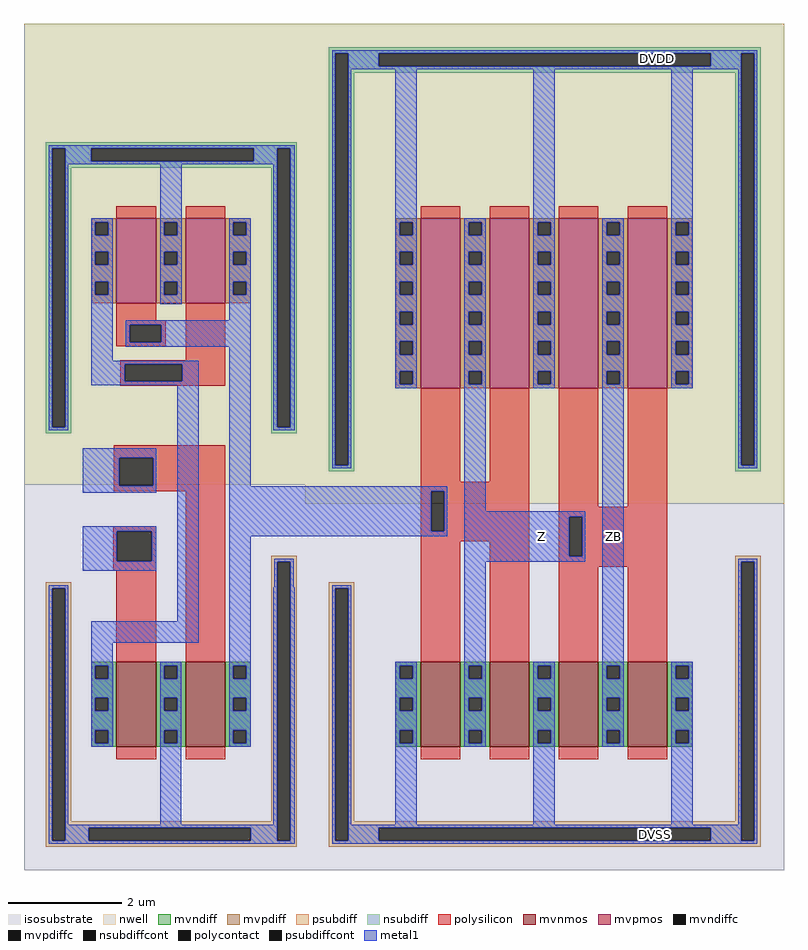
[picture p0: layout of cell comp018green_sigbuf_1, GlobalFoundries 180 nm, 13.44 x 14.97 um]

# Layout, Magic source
magic
tech gf180mcuD
magscale 1 10
<< isosubstrate >>
rect 202 -83 2889 2911
<< nwell >>
rect 202 2575 2889 2911
rect 1197 1213 2889 2575
<< mvnmos >>
rect 1605 354 1745 654
rect 1849 354 1989 654
rect 2093 354 2233 654
rect 2337 354 2477 654
<< mvpmos >>
rect 1605 1622 1745 2222
rect 1849 1622 1989 2222
rect 2093 1622 2233 2222
rect 2337 1622 2477 2222
<< mvndiff >>
rect 1517 641 1605 654
rect 1517 595 1530 641
rect 1576 595 1605 641
rect 1517 527 1605 595
rect 1517 481 1530 527
rect 1576 481 1605 527
rect 1517 413 1605 481
rect 1517 367 1530 413
rect 1576 367 1605 413
rect 1517 354 1605 367
rect 1745 641 1849 654
rect 1745 595 1774 641
rect 1820 595 1849 641
rect 1745 527 1849 595
rect 1745 481 1774 527
rect 1820 481 1849 527
rect 1745 413 1849 481
rect 1745 367 1774 413
rect 1820 367 1849 413
rect 1745 354 1849 367
rect 1989 641 2093 654
rect 1989 595 2018 641
rect 2064 595 2093 641
rect 1989 527 2093 595
rect 1989 481 2018 527
rect 2064 481 2093 527
rect 1989 413 2093 481
rect 1989 367 2018 413
rect 2064 367 2093 413
rect 1989 354 2093 367
rect 2233 641 2337 654
rect 2233 595 2262 641
rect 2308 595 2337 641
rect 2233 527 2337 595
rect 2233 481 2262 527
rect 2308 481 2337 527
rect 2233 413 2337 481
rect 2233 367 2262 413
rect 2308 367 2337 413
rect 2233 354 2337 367
rect 2477 641 2565 654
rect 2477 595 2506 641
rect 2552 595 2565 641
rect 2477 527 2565 595
rect 2477 481 2506 527
rect 2552 481 2565 527
rect 2477 413 2565 481
rect 2477 367 2506 413
rect 2552 367 2565 413
rect 2477 354 2565 367
<< mvpdiff >>
rect 1517 2209 1605 2222
rect 1517 2163 1530 2209
rect 1576 2163 1605 2209
rect 1517 2104 1605 2163
rect 1517 2058 1530 2104
rect 1576 2058 1605 2104
rect 1517 1999 1605 2058
rect 1517 1953 1530 1999
rect 1576 1953 1605 1999
rect 1517 1893 1605 1953
rect 1517 1847 1530 1893
rect 1576 1847 1605 1893
rect 1517 1787 1605 1847
rect 1517 1741 1530 1787
rect 1576 1741 1605 1787
rect 1517 1681 1605 1741
rect 1517 1635 1530 1681
rect 1576 1635 1605 1681
rect 1517 1622 1605 1635
rect 1745 2209 1849 2222
rect 1745 2163 1774 2209
rect 1820 2163 1849 2209
rect 1745 2104 1849 2163
rect 1745 2058 1774 2104
rect 1820 2058 1849 2104
rect 1745 1999 1849 2058
rect 1745 1953 1774 1999
rect 1820 1953 1849 1999
rect 1745 1893 1849 1953
rect 1745 1847 1774 1893
rect 1820 1847 1849 1893
rect 1745 1787 1849 1847
rect 1745 1741 1774 1787
rect 1820 1741 1849 1787
rect 1745 1681 1849 1741
rect 1745 1635 1774 1681
rect 1820 1635 1849 1681
rect 1745 1622 1849 1635
rect 1989 2209 2093 2222
rect 1989 2163 2018 2209
rect 2064 2163 2093 2209
rect 1989 2104 2093 2163
rect 1989 2058 2018 2104
rect 2064 2058 2093 2104
rect 1989 1999 2093 2058
rect 1989 1953 2018 1999
rect 2064 1953 2093 1999
rect 1989 1893 2093 1953
rect 1989 1847 2018 1893
rect 2064 1847 2093 1893
rect 1989 1787 2093 1847
rect 1989 1741 2018 1787
rect 2064 1741 2093 1787
rect 1989 1681 2093 1741
rect 1989 1635 2018 1681
rect 2064 1635 2093 1681
rect 1989 1622 2093 1635
rect 2233 2209 2337 2222
rect 2233 2163 2262 2209
rect 2308 2163 2337 2209
rect 2233 2104 2337 2163
rect 2233 2058 2262 2104
rect 2308 2058 2337 2104
rect 2233 1999 2337 2058
rect 2233 1953 2262 1999
rect 2308 1953 2337 1999
rect 2233 1893 2337 1953
rect 2233 1847 2262 1893
rect 2308 1847 2337 1893
rect 2233 1787 2337 1847
rect 2233 1741 2262 1787
rect 2308 1741 2337 1787
rect 2233 1681 2337 1741
rect 2233 1635 2262 1681
rect 2308 1635 2337 1681
rect 2233 1622 2337 1635
rect 2477 2209 2565 2222
rect 2477 2163 2506 2209
rect 2552 2163 2565 2209
rect 2477 2104 2565 2163
rect 2477 2058 2506 2104
rect 2552 2058 2565 2104
rect 2477 1999 2565 2058
rect 2477 1953 2506 1999
rect 2552 1953 2565 1999
rect 2477 1893 2565 1953
rect 2477 1847 2506 1893
rect 2552 1847 2565 1893
rect 2477 1787 2565 1847
rect 2477 1741 2506 1787
rect 2552 1741 2565 1787
rect 2477 1681 2565 1741
rect 2477 1635 2506 1681
rect 2552 1635 2565 1681
rect 2477 1622 2565 1635
<< mvndiffc >>
rect 1530 595 1576 641
rect 1530 481 1576 527
rect 1530 367 1576 413
rect 1774 595 1820 641
rect 1774 481 1820 527
rect 1774 367 1820 413
rect 2018 595 2064 641
rect 2018 481 2064 527
rect 2018 367 2064 413
rect 2262 595 2308 641
rect 2262 481 2308 527
rect 2262 367 2308 413
rect 2506 595 2552 641
rect 2506 481 2552 527
rect 2506 367 2552 413
<< mvpdiffc >>
rect 1530 2163 1576 2209
rect 1530 2058 1576 2104
rect 1530 1953 1576 1999
rect 1530 1847 1576 1893
rect 1530 1741 1576 1787
rect 1530 1635 1576 1681
rect 1774 2163 1820 2209
rect 1774 2058 1820 2104
rect 1774 1953 1820 1999
rect 1774 1847 1820 1893
rect 1774 1741 1820 1787
rect 1774 1635 1820 1681
rect 2018 2163 2064 2209
rect 2018 2058 2064 2104
rect 2018 1953 2064 1999
rect 2018 1847 2064 1893
rect 2018 1741 2064 1787
rect 2018 1635 2064 1681
rect 2262 2163 2308 2209
rect 2262 2058 2308 2104
rect 2262 1953 2308 1999
rect 2262 1847 2308 1893
rect 2262 1741 2308 1787
rect 2262 1635 2308 1681
rect 2506 2163 2552 2209
rect 2506 2058 2552 2104
rect 2506 1953 2552 1999
rect 2506 1847 2552 1893
rect 2506 1741 2552 1787
rect 2506 1635 2552 1681
<< psubdiff >>
rect 1280 914 1370 936
rect 1280 22 1302 914
rect 1348 90 1370 914
rect 2716 1008 2806 1030
rect 2716 90 2738 1008
rect 1348 68 2738 90
rect 1348 22 1456 68
rect 2630 22 2738 68
rect 2784 22 2806 1008
rect 1280 0 2806 22
<< nsubdiff >>
rect 1280 2806 2806 2828
rect 1280 1350 1302 2806
rect 1348 2760 1456 2806
rect 2630 2760 2738 2806
rect 1348 2738 2738 2760
rect 1348 1350 1370 2738
rect 1280 1328 1370 1350
rect 2716 1350 2738 2738
rect 2784 1350 2806 2806
rect 2716 1328 2806 1350
<< psubdiffcont >>
rect 1302 22 1348 914
rect 1456 22 2630 68
rect 2738 22 2784 1008
<< nsubdiffcont >>
rect 1302 1350 1348 2806
rect 1456 2760 2630 2806
rect 2738 1350 2784 2806
<< polysilicon >>
rect 1605 2222 1745 2266
rect 1849 2222 1989 2266
rect 2093 2222 2233 2266
rect 2337 2222 2477 2266
rect 1605 1292 1745 1622
rect 1849 1292 1989 1622
rect 1605 1257 1989 1292
rect 1605 1117 1642 1257
rect 1688 1117 1989 1257
rect 1605 1081 1989 1117
rect 1605 654 1745 1081
rect 1849 654 1989 1081
rect 2093 1202 2233 1622
rect 2337 1202 2477 1622
rect 2093 1167 2477 1202
rect 2093 1027 2130 1167
rect 2176 1027 2477 1167
rect 2093 991 2477 1027
rect 2093 654 2233 991
rect 2337 654 2477 991
rect 1605 310 1745 354
rect 1849 310 1989 354
rect 2093 310 2233 354
rect 2337 310 2477 354
<< polycontact >>
rect 1642 1117 1688 1257
rect 2130 1027 2176 1167
<< metal1 >>
rect 1291 2806 2795 2817
rect 1291 1350 1302 2806
rect 1348 2760 1456 2806
rect 2630 2760 2738 2806
rect 1348 2749 2738 2760
rect 1348 1350 1359 2749
rect 1515 2209 1591 2749
rect 1515 2163 1530 2209
rect 1576 2163 1591 2209
rect 1515 2104 1591 2163
rect 1515 2058 1530 2104
rect 1576 2058 1591 2104
rect 1515 1999 1591 2058
rect 1515 1953 1530 1999
rect 1576 1953 1591 1999
rect 1515 1893 1591 1953
rect 1515 1847 1530 1893
rect 1576 1847 1591 1893
rect 1515 1787 1591 1847
rect 1515 1741 1530 1787
rect 1576 1741 1591 1787
rect 1515 1681 1591 1741
rect 1515 1635 1530 1681
rect 1576 1635 1591 1681
rect 1515 1622 1591 1635
rect 1759 2209 1835 2222
rect 1759 2163 1774 2209
rect 1820 2163 1835 2209
rect 1759 2104 1835 2163
rect 1759 2058 1774 2104
rect 1820 2058 1835 2104
rect 1759 1999 1835 2058
rect 1759 1953 1774 1999
rect 1820 1953 1835 1999
rect 1759 1893 1835 1953
rect 1759 1847 1774 1893
rect 1820 1847 1835 1893
rect 1759 1787 1835 1847
rect 1759 1741 1774 1787
rect 1820 1741 1835 1787
rect 1759 1681 1835 1741
rect 1759 1635 1774 1681
rect 1820 1635 1835 1681
rect 1291 1339 1359 1350
rect 962 1257 1699 1276
rect 962 1117 1642 1257
rect 1688 1117 1699 1257
rect 962 1098 1699 1117
rect 1759 1186 1835 1635
rect 2003 2209 2079 2749
rect 2003 2163 2018 2209
rect 2064 2163 2079 2209
rect 2003 2104 2079 2163
rect 2003 2058 2018 2104
rect 2064 2058 2079 2104
rect 2003 1999 2079 2058
rect 2003 1953 2018 1999
rect 2064 1953 2079 1999
rect 2003 1893 2079 1953
rect 2003 1847 2018 1893
rect 2064 1847 2079 1893
rect 2003 1787 2079 1847
rect 2003 1741 2018 1787
rect 2064 1741 2079 1787
rect 2003 1681 2079 1741
rect 2003 1635 2018 1681
rect 2064 1635 2079 1681
rect 2003 1622 2079 1635
rect 2247 2209 2323 2222
rect 2247 2163 2262 2209
rect 2308 2163 2323 2209
rect 2247 2104 2323 2163
rect 2247 2058 2262 2104
rect 2308 2058 2323 2104
rect 2247 1999 2323 2058
rect 2247 1953 2262 1999
rect 2308 1953 2323 1999
rect 2247 1893 2323 1953
rect 2247 1847 2262 1893
rect 2308 1847 2323 1893
rect 2247 1787 2323 1847
rect 2247 1741 2262 1787
rect 2308 1741 2323 1787
rect 2247 1681 2323 1741
rect 2247 1635 2262 1681
rect 2308 1635 2323 1681
rect 1759 1167 2187 1186
rect 1759 1027 2130 1167
rect 2176 1027 2187 1167
rect 1759 1008 2187 1027
rect 1291 914 1359 925
rect 1291 22 1302 914
rect 1348 79 1359 914
rect 1515 641 1591 654
rect 1515 595 1530 641
rect 1576 595 1591 641
rect 1515 527 1591 595
rect 1515 481 1530 527
rect 1576 481 1591 527
rect 1515 413 1591 481
rect 1515 367 1530 413
rect 1576 367 1591 413
rect 1515 79 1591 367
rect 1759 641 1835 1008
rect 1759 595 1774 641
rect 1820 595 1835 641
rect 1759 527 1835 595
rect 1759 481 1774 527
rect 1820 481 1835 527
rect 1759 413 1835 481
rect 1759 367 1774 413
rect 1820 367 1835 413
rect 1759 354 1835 367
rect 2003 641 2079 654
rect 2003 595 2018 641
rect 2064 595 2079 641
rect 2003 527 2079 595
rect 2003 481 2018 527
rect 2064 481 2079 527
rect 2003 413 2079 481
rect 2003 367 2018 413
rect 2064 367 2079 413
rect 2003 79 2079 367
rect 2247 641 2323 1635
rect 2491 2209 2567 2749
rect 2491 2163 2506 2209
rect 2552 2163 2567 2209
rect 2491 2104 2567 2163
rect 2491 2058 2506 2104
rect 2552 2058 2567 2104
rect 2491 1999 2567 2058
rect 2491 1953 2506 1999
rect 2552 1953 2567 1999
rect 2491 1893 2567 1953
rect 2491 1847 2506 1893
rect 2552 1847 2567 1893
rect 2491 1787 2567 1847
rect 2491 1741 2506 1787
rect 2552 1741 2567 1787
rect 2491 1681 2567 1741
rect 2491 1635 2506 1681
rect 2552 1635 2567 1681
rect 2491 1622 2567 1635
rect 2727 1350 2738 2749
rect 2784 1350 2795 2806
rect 2727 1339 2795 1350
rect 2727 1008 2795 1019
rect 2247 595 2262 641
rect 2308 595 2323 641
rect 2247 527 2323 595
rect 2247 481 2262 527
rect 2308 481 2323 527
rect 2247 413 2323 481
rect 2247 367 2262 413
rect 2308 367 2323 413
rect 2247 354 2323 367
rect 2491 641 2567 654
rect 2491 595 2506 641
rect 2552 595 2567 641
rect 2491 527 2567 595
rect 2491 481 2506 527
rect 2552 481 2567 527
rect 2491 413 2567 481
rect 2491 367 2506 413
rect 2552 367 2567 413
rect 2491 79 2567 367
rect 2727 79 2738 1008
rect 1348 68 2738 79
rect 1348 22 1456 68
rect 2630 22 2738 68
rect 2784 22 2795 1008
rect 1291 11 2795 22
use lvlshift_up  lvlshift_up_0
transform 1 0 -17985 0 1 -53410
box 18187 53410 19183 55985
<< labels >>
rlabel metal1 s 2031 1098 2031 1098 4 Z
port 1 nsew
rlabel metal1 s 2433 45 2433 45 4 DVSS
port 3 nsew
rlabel metal1 s 2442 2788 2442 2788 4 DVDD
port 4 nsew
rlabel metal1 s 2286 1098 2286 1098 4 ZB
port 7 nsew
<< end >>

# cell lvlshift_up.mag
magic
tech gf180mcuD
magscale 1 10
<< nwell >>
rect 18187 54691 19183 55985
<< mvnmos >>
rect 18514 53764 18654 54064
rect 18758 53764 18898 54064
<< mvpmos >>
rect 18514 55332 18654 55632
rect 18758 55332 18898 55632
<< mvndiff >>
rect 18426 54051 18514 54064
rect 18426 54005 18439 54051
rect 18485 54005 18514 54051
rect 18426 53937 18514 54005
rect 18426 53891 18439 53937
rect 18485 53891 18514 53937
rect 18426 53823 18514 53891
rect 18426 53777 18439 53823
rect 18485 53777 18514 53823
rect 18426 53764 18514 53777
rect 18654 54051 18758 54064
rect 18654 54005 18683 54051
rect 18729 54005 18758 54051
rect 18654 53937 18758 54005
rect 18654 53891 18683 53937
rect 18729 53891 18758 53937
rect 18654 53823 18758 53891
rect 18654 53777 18683 53823
rect 18729 53777 18758 53823
rect 18654 53764 18758 53777
rect 18898 54051 18988 54064
rect 18898 54005 18927 54051
rect 18973 54005 18988 54051
rect 18898 53937 18988 54005
rect 18898 53891 18927 53937
rect 18973 53891 18988 53937
rect 18898 53823 18988 53891
rect 18898 53777 18927 53823
rect 18973 53777 18988 53823
rect 18898 53764 18988 53777
<< mvpdiff >>
rect 18426 55619 18514 55632
rect 18426 55573 18439 55619
rect 18485 55573 18514 55619
rect 18426 55514 18514 55573
rect 18426 55468 18439 55514
rect 18485 55468 18514 55514
rect 18426 55409 18514 55468
rect 18426 55363 18439 55409
rect 18485 55363 18514 55409
rect 18426 55332 18514 55363
rect 18654 55619 18758 55632
rect 18654 55573 18683 55619
rect 18729 55573 18758 55619
rect 18654 55514 18758 55573
rect 18654 55468 18683 55514
rect 18729 55468 18758 55514
rect 18654 55409 18758 55468
rect 18654 55363 18683 55409
rect 18729 55363 18758 55409
rect 18654 55332 18758 55363
rect 18898 55619 18988 55632
rect 18898 55573 18927 55619
rect 18973 55573 18988 55619
rect 18898 55514 18988 55573
rect 18898 55468 18927 55514
rect 18973 55468 18988 55514
rect 18898 55409 18988 55468
rect 18898 55363 18927 55409
rect 18973 55363 18988 55409
rect 18898 55332 18988 55363
<< mvndiffc >>
rect 18439 54005 18485 54051
rect 18439 53891 18485 53937
rect 18439 53777 18485 53823
rect 18683 54005 18729 54051
rect 18683 53891 18729 53937
rect 18683 53777 18729 53823
rect 18927 54005 18973 54051
rect 18927 53891 18973 53937
rect 18927 53777 18973 53823
<< mvpdiffc >>
rect 18439 55573 18485 55619
rect 18439 55468 18485 55514
rect 18439 55363 18485 55409
rect 18683 55573 18729 55619
rect 18683 55468 18729 55514
rect 18683 55363 18729 55409
rect 18927 55573 18973 55619
rect 18927 55468 18973 55514
rect 18927 55363 18973 55409
<< psubdiff >>
rect 18264 54324 18354 54346
rect 18264 53432 18286 54324
rect 18332 53500 18354 54324
rect 19061 54418 19151 54440
rect 19061 53500 19083 54418
rect 18332 53478 19083 53500
rect 18332 53432 18416 53478
rect 18989 53432 19083 53478
rect 19129 53432 19151 54418
rect 18264 53410 19151 53432
<< nsubdiff >>
rect 18264 55880 19151 55902
rect 18264 54894 18286 55880
rect 18332 55834 18425 55880
rect 19000 55834 19083 55880
rect 18332 55812 19083 55834
rect 18332 54894 18354 55812
rect 18264 54872 18354 54894
rect 19061 54894 19083 55812
rect 19129 54894 19151 55880
rect 19061 54872 19151 54894
<< psubdiffcont >>
rect 18286 53432 18332 54324
rect 18416 53432 18989 53478
rect 19083 53432 19129 54418
<< nsubdiffcont >>
rect 18286 54894 18332 55880
rect 18425 55834 19000 55880
rect 19083 54894 19129 55880
<< polysilicon >>
rect 18514 55632 18654 55676
rect 18758 55632 18898 55676
rect 18514 55272 18654 55332
rect 18514 55257 18688 55272
rect 18514 55195 18560 55257
rect 18672 55195 18688 55257
rect 18514 55181 18688 55195
rect 18758 55130 18898 55332
rect 18528 55116 18898 55130
rect 18528 55056 18544 55116
rect 18747 55056 18898 55116
rect 18528 55040 18898 55056
rect 18504 54786 18898 54830
rect 18504 54687 18523 54786
rect 18644 54687 18898 54786
rect 18504 54667 18898 54687
rect 18502 54527 18654 54544
rect 18502 54420 18515 54527
rect 18639 54420 18654 54527
rect 18502 54386 18654 54420
rect 18514 54064 18654 54386
rect 18758 54064 18898 54667
rect 18514 53720 18654 53764
rect 18758 53720 18898 53764
<< polycontact >>
rect 18560 55195 18672 55257
rect 18544 55056 18747 55116
rect 18523 54687 18644 54786
rect 18515 54420 18639 54527
<< metal1 >>
rect 18275 55880 19144 55891
rect 18275 54894 18286 55880
rect 18332 55834 18425 55880
rect 19000 55834 19083 55880
rect 18332 55823 19083 55834
rect 18332 54894 18343 55823
rect 18424 55619 18500 55632
rect 18424 55573 18439 55619
rect 18485 55573 18500 55619
rect 18424 55514 18500 55573
rect 18424 55468 18439 55514
rect 18485 55468 18500 55514
rect 18424 55409 18500 55468
rect 18424 55363 18439 55409
rect 18485 55363 18500 55409
rect 18424 55129 18500 55363
rect 18668 55619 18745 55823
rect 18668 55573 18683 55619
rect 18729 55573 18745 55619
rect 18668 55514 18745 55573
rect 18668 55468 18683 55514
rect 18729 55468 18745 55514
rect 18668 55409 18745 55468
rect 18668 55363 18683 55409
rect 18729 55363 18745 55409
rect 18668 55328 18745 55363
rect 18912 55619 18988 55632
rect 18912 55573 18927 55619
rect 18973 55573 18988 55619
rect 18912 55514 18988 55573
rect 18912 55468 18927 55514
rect 18973 55468 18988 55514
rect 18912 55409 18988 55468
rect 18912 55363 18927 55409
rect 18973 55363 18988 55409
rect 18912 55272 18988 55363
rect 18547 55257 18988 55272
rect 18547 55195 18560 55257
rect 18672 55195 18988 55257
rect 18547 55178 18988 55195
rect 18424 55116 18805 55129
rect 18424 55056 18544 55116
rect 18747 55056 18805 55116
rect 18424 55043 18805 55056
rect 18275 54883 18343 54894
rect 18394 54786 18655 54820
rect 18394 54687 18523 54786
rect 18644 54687 18655 54786
rect 18394 54663 18655 54687
rect 18394 54527 18655 54543
rect 18394 54420 18515 54527
rect 18639 54420 18655 54527
rect 18394 54386 18655 54420
rect 18275 54324 18343 54335
rect 18275 53432 18286 54324
rect 18332 53489 18343 54324
rect 18729 54208 18805 55043
rect 18424 54132 18805 54208
rect 18424 54051 18500 54132
rect 18424 54005 18439 54051
rect 18485 54005 18500 54051
rect 18424 53937 18500 54005
rect 18424 53891 18439 53937
rect 18485 53891 18500 53937
rect 18424 53823 18500 53891
rect 18424 53777 18439 53823
rect 18485 53777 18500 53823
rect 18424 53764 18500 53777
rect 18668 54051 18743 54064
rect 18668 54005 18683 54051
rect 18729 54005 18743 54051
rect 18668 53937 18743 54005
rect 18668 53891 18683 53937
rect 18729 53891 18743 53937
rect 18668 53823 18743 53891
rect 18668 53777 18683 53823
rect 18729 53777 18743 53823
rect 18668 53489 18743 53777
rect 18912 54051 18988 55178
rect 19068 54894 19083 55823
rect 19129 54894 19144 55880
rect 19068 54883 19144 54894
rect 19072 54418 19140 54429
rect 19072 54329 19083 54418
rect 18912 54005 18927 54051
rect 18973 54005 18988 54051
rect 18912 53937 18988 54005
rect 18912 53891 18927 53937
rect 18973 53891 18988 53937
rect 18912 53823 18988 53891
rect 18912 53777 18927 53823
rect 18973 53777 18988 53823
rect 18912 53764 18988 53777
rect 19068 53489 19083 54329
rect 18332 53478 19083 53489
rect 18332 53432 18416 53478
rect 18989 53432 19083 53478
rect 19129 54329 19140 54418
rect 19129 53432 19144 54329
rect 18275 53421 19144 53432
<< end >>
